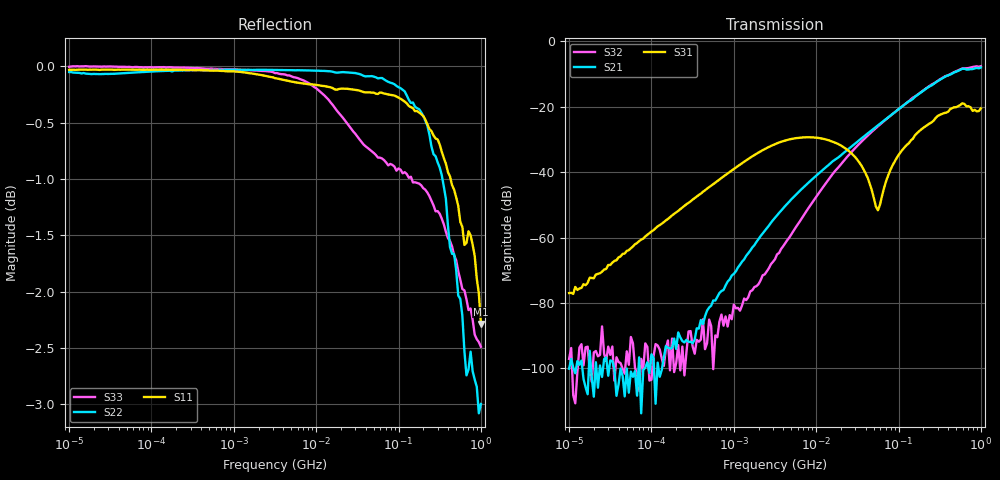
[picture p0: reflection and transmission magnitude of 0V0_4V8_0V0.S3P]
!Keysight Technologies,E5080A,MY55100144,A.11.70.03
!Date: Monday, November 13, 2017 17:25:23
!Correction: S11(Full 3 Port(1,2,3))
!S12(Full 3 Port(1,2,3))
!S13(Full 3 Port(1,2,3))
!S21(Full 3 Port(1,2,3))
!S22(Full 3 Port(1,2,3))
!S23(Full 3 Port(1,2,3))
!S31(Full 3 Port(1,2,3))
!S32(Full 3 Port(1,2,3))
!S33(Full 3 Port(1,2,3))
!S3P File: Measurements: <S11,S12,S13>,
!<S21,S22,S23>,
!<S31,S32,S33>:Log Frequency Sweep
# Hz S  RI  R 50
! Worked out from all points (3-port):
!   201 points, 10 kHz to 1 GHz, reference 50 ohm
!   strongest paths, dB at 10 kHz, 177.8 kHz, 3.162 MHz, 56.23 MHz, 1 GHz:
!     S31: -77.0, -53.2, -31.4, -51.6, -20.5
!     S21: -100.1, -93.8, -54.0, -25.7, -8.0
!     S32: -97.1, -90.9, -66.6, -26.0, -7.6
!   lowest |S11| = -2.3 dB at 1 GHz (marker M1), VSWR 7.64, Z = 382 + j0.82 ohm
!   |S11| at or under -10 dB: nowhere
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10000  0.9964 -0.00574  6.73e-06 -7.06e-07  1.3e-05 0.00013
       -9.47e-06 2.89e-06  0.4709 -0.8757  3.93e-06 -1.13e-05
       -1.99e-07 0.000142  1.34e-05 -3.97e-06  0.9996 -0.00237
50118.72  0.9962 -0.0282  3.19e-06 -1.6e-05  4.52e-05 0.000636
          -2.72e-06 9.59e-06  -0.7915 -0.6001  -9.03e-06 9.67e-06
          3.81e-05 0.000624  1.19e-05 -1.38e-05  0.9994 -0.00552
530884.4  0.9523 -0.2907  -6.34e-05 5.89e-05  0.00129 0.00608
          -7.4e-05 5.28e-05  -0.9944 -0.0613  -8.09e-06 3.05e-05
          0.0013 0.00606  -2.08e-05 3.92e-05  0.9965 -0.0511
3162278  0.113 -0.9816  -0.00131 0.0015  0.0207 0.017
         -0.00131 0.00151  -0.9964 0.00465  -0.000418 0.000235
         0.0209 0.0168  -0.000396 0.000247  0.9501 -0.2892
2.113489e7  -0.943 -0.2576  -0.00112 0.0193  0.0197 -0.0146
            -0.00119 0.0192  -0.9894 0.098  -0.00852 0.0116
            0.0196 -0.0147  -0.00854 0.0116  -0.0181 -0.9486
5.623413e7  -0.9706 0.0555  0.00895 0.051  0.00259 0.000531
            0.00899 0.0512  -0.9533 0.2589  -0.0053 0.05
            0.00256 0.000535  -0.00532 0.0499  -0.761 -0.5008
1.059254e8  -0.933 0.2562  0.0376 0.0894  0.00782 0.0187
            0.0377 0.0895  -0.8607 0.4643  0.0231 0.0945
            0.00777 0.0187  0.0231 0.0945  -0.8952 -0.091
3.758374e8  -0.3694 0.8265  0.2899 0.0333  0.0809 -0.0059
            0.2901 0.0332  0.0975 0.8679  0.2897 0.0578
            0.0809 -0.00582  0.2895 0.0579  -0.4871 0.6897
7.079458e8  0.4633 0.7065  0.1988 -0.3124  0.012 -0.1012
            0.1986 -0.3128  0.6977 0.2265  0.246 -0.3031
            0.0121 -0.1014  0.2463 -0.3029  0.2567 0.736
1e9  0.7684 0.00044  -0.1002 -0.3848  -0.0565 -0.0754
     -0.1007 -0.3849  0.5908 -0.3903  -0.0461 -0.4146
     -0.0566 -0.0755  -0.0457 -0.4145  0.6827 0.3123
